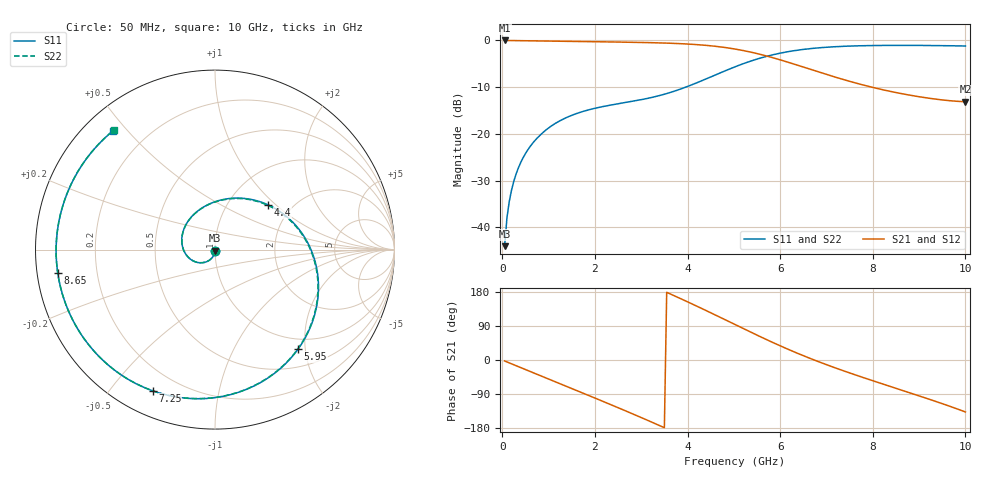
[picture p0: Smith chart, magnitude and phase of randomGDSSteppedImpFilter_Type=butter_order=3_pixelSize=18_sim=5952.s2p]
! freq	dB(S11)	phase(S11)	dB(S12)	phase(S12)
!  dB(S21)	phase(S21)	dB(S22)	phase(S22)
!S-par simulation data
#  GHz  S  DB  R 50
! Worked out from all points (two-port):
!   200 points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, 50 MHz to 10 GHz, reference 50 ohm
!   highest |S21| = 0.00 dB at 50 MHz (marker M1); lowest = -13.1 dB at 10 GHz (marker M2)
!   |S21| within 3 dB of the highest: start of sweep to 5.582 GHz
!   lowest |S11| = -44.0 dB at 50 MHz (marker M3), VSWR 1.01, Z = 50 - j0.631 ohm
!   |S11| at or under -10 dB: start of sweep to 3.959 GHz
!   |S22| runs from -44.0 to -1.1 dB; largest |S21 - S12| = 0
!   S11 on the Smith chart (normalised r, x): 50 MHz: 1.00, -0.01; 4.4 GHz: 1.53, +0.90; 5.95 GHz: 0.80, -1.86; 7.25 GHz: 0.11, -0.65; 8.65 GHz: 0.06, -0.07; 10 GHz: 0.08, +0.46
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0.05  -43.99 -92.0  -0.00 -2.6  -0.00 -2.6  -43.99 -92.0
0.1  -37.98 -94.8  -0.01 -5.1  -0.01 -5.1  -37.98 -94.9
0.2  -31.98 -100.1  -0.02 -10.1  -0.02 -10.1  -31.98 -100.1
0.5  -24.19 -115.5  -0.05 -25.2  -0.05 -25.2  -24.19 -115.6
1.15  -17.71 -148.6  -0.14 -57.8  -0.14 -57.8  -17.71 -148.8
1.75  -15.16 -178.6  -0.23 -87.8  -0.23 -87.8  -15.16 -179.1
2.5  -13.55 143.3  -0.35 -125.8  -0.35 -125.8  -13.54 142.5
2.95  -12.77 120.0  -0.42 -149.2  -0.42 -149.2  -12.76 119.0
3.4  -11.77 96.0  -0.53 -173.2  -0.53 -173.2  -11.77 94.9
3.9  -10.22 68.4  -0.71 159.2  -0.71 159.2  -10.21 67.3
4.4  -8.23 39.9  -1.05 130.6  -1.05 130.6  -8.22 38.8
4.75  -6.75 19.4  -1.43 110.0  -1.43 110.0  -6.75 18.4
5.05  -5.54 1.7  -1.88 92.2  -1.88 92.2  -5.54 0.8
5.5  -3.99 -24.7  -2.81 65.6  -2.81 65.6  -3.98 -25.5
5.95  -2.83 -50.1  -4.00 40.2  -4.00 40.2  -2.83 -50.8
6.7  -1.70 -88.6  -6.33 1.7  -6.33 1.7  -1.70 -89.1
7.25  -1.31 -113.8  -8.02 -23.4  -8.02 -23.4  -1.31 -114.3
7.8  -1.12 -137.1  -9.55 -46.6  -9.55 -46.6  -1.12 -137.6
8.35  -1.06 -159.5  -10.84 -68.7  -10.84 -68.7  -1.06 -159.9
8.65  -1.05 -171.6  -11.43 -80.6  -11.43 -80.6  -1.05 -172.0
9.35  -1.10 159.5  -12.54 -108.9  -12.54 -108.9  -1.09 159.1
10  -1.19 130.6  -13.10 -137.1  -13.10 -137.1  -1.19 130.2
